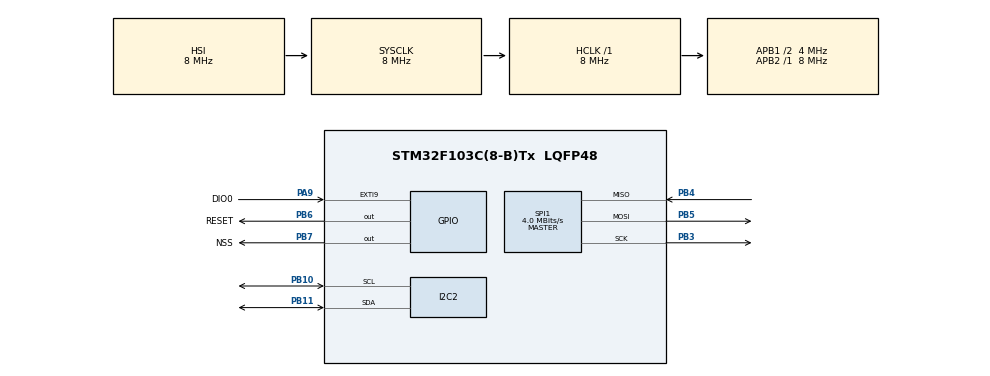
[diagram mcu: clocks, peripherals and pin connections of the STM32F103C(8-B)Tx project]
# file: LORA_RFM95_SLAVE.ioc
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Mcu.Family=STM32F1
Mcu.Name=STM32F103C(8-B)Tx
Mcu.Package=LQFP48
NVIC.PriorityGroup=NVIC_PRIORITYGROUP_4
NVIC.SPI1_IRQn=true\:0\:0\:false\:false\:true\:true\:true\:true
PA13.Mode=Serial_Wire
PA13.Signal=SYS_JTMS-SWDIO
PA14.Mode=Serial_Wire
PA14.Signal=SYS_JTCK-SWCLK
PA9.GPIO_Label=DIO0
PA9.GPIO_ModeDefaultEXTI=GPIO_MODE_IT_RISING
PA9.Signal=GPXTI9
PB10.Mode=I2C
PB10.Signal=I2C2_SCL
PB11.Mode=I2C
PB11.Signal=I2C2_SDA
PB3.Mode=Full_Duplex_Master
PB3.Signal=SPI1_SCK
PB4.Mode=Full_Duplex_Master
PB4.Signal=SPI1_MISO
PB5.Mode=Full_Duplex_Master
PB5.Signal=SPI1_MOSI
PB6.GPIO_Label=RESET
PB6.PinState=GPIO_PIN_SET
PB6.Signal=GPIO_Output
PB7.GPIO_Label=NSS
PB7.PinState=GPIO_PIN_SET
PB7.Signal=GPIO_Output
ProjectManager.HeapSize=0x200
ProjectManager.StackSize=0x400
ProjectManager.TargetToolchain=STM32CubeIDE
RCC.AHBFreq_Value=8000000
RCC.APB1CLKDivider=RCC_HCLK_DIV2
RCC.APB1Freq_Value=4000000
RCC.APB1TimFreq_Value=8000000
RCC.APB2Freq_Value=8000000
RCC.APB2TimFreq_Value=8000000
RCC.HCLKFreq_Value=8000000
RCC.PLLMUL=RCC_PLL_MUL9
RCC.SYSCLKFreq_VALUE=8000000
RCC.USBFreq_Value=36000000
SPI1.CalculateBaudRate=4.0 MBits/s
SPI1.Direction=SPI_DIRECTION_2LINES
SPI1.Mode=SPI_MODE_MASTER
SPI1.VirtualType=VM_MASTER
board=custom

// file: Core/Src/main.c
/* USER CODE BEGIN Header */
/**
  ******************************************************************************
  * @file           : main.c
  * @brief          : Main program body
  ******************************************************************************
  * @attention
  *
  * Copyright (c) 2024 STMicroelectronics.
  * All rights reserved.
  *
  * This software is licensed under terms that can be found in the LICENSE file
  * in the root directory of this software component.
  * If no LICENSE file comes with this software, it is provided AS-IS.
  *
  ******************************************************************************
  */
/* USER CODE END Header */
#include "main.h"
#include "string.h"
#include <stdio.h>
#include "LoRa.h"
#include <stdlib.h>
#include "../../ECUAL/I2C_LCD/I2C_LCD.h"

I2C_HandleTypeDef hi2c2;

SPI_HandleTypeDef hspi1;

void SystemClock_Config(void);
static void MX_GPIO_Init(void);
static void MX_SPI1_Init(void);
static void MX_I2C2_Init(void);
/* USER CODE BEGIN PFP */
#define BufferSize 2

uint8_t MyI2C_LCD;
uint8_t gps_buffer[BufferSize];
uint8_t packetSize;
LoRa myLoRa;
uint16_t LoRa_status;

char gps_store_1[15];
char gps_store_2[15];
/* USER CODE END PFP */

void HAL_SPI_RxCpltCallback(SPI_HandleTypeDef *hspi){
	if(hspi->Instance == SPI1){
		HAL_SPI_Receive_IT(&hspi1, gps_buffer, BufferSize);
	}
}

int main(void)
{

  /* MCU Configuration--------------------------------------------------------*/

  /* Reset of all peripherals, Initializes the Flash interface and the Systick. */
  HAL_Init();

  /* Configure the system clock */
  SystemClock_Config();

  /* Initialize all configured peripherals */
  MX_GPIO_Init();
  MX_SPI1_Init();
  MX_I2C2_Init();
  /* USER CODE BEGIN 2 */

   I2C_LCD_Init(MyI2C_LCD);
   I2C_LCD_SetCursor(MyI2C_LCD, 0, 0);
   I2C_LCD_WriteString(MyI2C_LCD, "LoRa Tracking");
   I2C_LCD_SetCursor(MyI2C_LCD, 0, 1);
   I2C_LCD_WriteString(MyI2C_LCD, "GROUP 6");
   HAL_Delay(1000);

  // set up LoRa module
   	I2C_LCD_Clear(MyI2C_LCD);
   	I2C_LCD_SetCursor(MyI2C_LCD, 0, 0);
   	I2C_LCD_WriteString(MyI2C_LCD, "Configure LoRa");
   	myLoRa = newLoRa();

   	myLoRa.hSPIx                 = &hspi1;
   	myLoRa.CS_port               = NSS_GPIO_Port;
   	myLoRa.CS_pin                = NSS_Pin;
   	myLoRa.reset_port            = RESET_GPIO_Port;
   	myLoRa.reset_pin             = RESET_Pin;
   	myLoRa.DIO0_port			 = DIO0_GPIO_Port;
   	myLoRa.DIO0_pin				 = DIO0_Pin;

   	LoRa_status = LoRa_init(&myLoRa);
  	LoRa_startReceiving(&myLoRa);
   	I2C_LCD_SetCursor(MyI2C_LCD, 0, 1);
   	I2C_LCD_WriteString(MyI2C_LCD, "Done configure");
   	HAL_Delay(1000);
  /* USER CODE END 2 */

  /* Infinite loop */
  while (1)
  {
	  HAL_Delay(2000);
	  packetSize = LoRa_receive(&myLoRa, gps_buffer, BufferSize);
	  if (packetSize > 0) {
		  sprintf(gps_store_1,"Lat: %f", (double) gps_buffer[0]);
		  sprintf(gps_store_2,"Lon: %f", (double) gps_buffer[1]);
		  I2C_LCD_Clear(MyI2C_LCD);
		  I2C_LCD_SetCursor(MyI2C_LCD, 0, 0);
		  I2C_LCD_WriteString(MyI2C_LCD, "Receive Success!");
		  HAL_Delay(2000);
		  I2C_LCD_Clear(MyI2C_LCD);
		  I2C_LCD_SetCursor(MyI2C_LCD, 0, 0);
		  I2C_LCD_WriteString(MyI2C_LCD, gps_store_1);
		  I2C_LCD_SetCursor(MyI2C_LCD, 0, 1);
		  I2C_LCD_WriteString(MyI2C_LCD, gps_store_2);
		  HAL_Delay(5000);
	  }else{
		  I2C_LCD_Clear(MyI2C_LCD);
		  I2C_LCD_SetCursor(MyI2C_LCD, 0, 0);
		  I2C_LCD_WriteString(MyI2C_LCD, "Error Receive!");
		  I2C_LCD_SetCursor(MyI2C_LCD, 0, 1);
		  I2C_LCD_WriteString(MyI2C_LCD, "Restart Now...");
		  HAL_Delay(2000);
	  }
	  I2C_LCD_Clear(MyI2C_LCD);
  }
}

void SystemClock_Config(void)
{
  RCC_OscInitTypeDef RCC_OscInitStruct = {0};
  RCC_ClkInitTypeDef RCC_ClkInitStruct = {0};

  /** Initializes the RCC Oscillators according to the specified parameters
  * in the RCC_OscInitTypeDef structure.
  */
  RCC_OscInitStruct.OscillatorType = RCC_OSCILLATORTYPE_HSI;
  RCC_OscInitStruct.HSIState = RCC_HSI_ON;
  RCC_OscInitStruct.HSICalibrationValue = RCC_HSICALIBRATION_DEFAULT;
  RCC_OscInitStruct.PLL.PLLState = RCC_PLL_NONE;
  if (HAL_RCC_OscConfig(&RCC_OscInitStruct) != HAL_OK)
  {
    Error_Handler();
  }

  /** Initializes the CPU, AHB and APB buses clocks
  */
  RCC_ClkInitStruct.ClockType = RCC_CLOCKTYPE_HCLK|RCC_CLOCKTYPE_SYSCLK
                              |RCC_CLOCKTYPE_PCLK1|RCC_CLOCKTYPE_PCLK2;
  RCC_ClkInitStruct.SYSCLKSource = RCC_SYSCLKSOURCE_HSI;
  RCC_ClkInitStruct.AHBCLKDivider = RCC_SYSCLK_DIV1;
  RCC_ClkInitStruct.APB1CLKDivider = RCC_HCLK_DIV2;
  RCC_ClkInitStruct.APB2CLKDivider = RCC_HCLK_DIV1;

  if (HAL_RCC_ClockConfig(&RCC_ClkInitStruct, FLASH_LATENCY_0) != HAL_OK)
  {
    Error_Handler();
  }
}

static void MX_I2C2_Init(void)
{

  hi2c2.Instance = I2C2;
  hi2c2.Init.ClockSpeed = 100000;
  hi2c2.Init.DutyCycle = I2C_DUTYCYCLE_2;
  hi2c2.Init.OwnAddress1 = 0;
  hi2c2.Init.AddressingMode = I2C_ADDRESSINGMODE_7BIT;
  hi2c2.Init.DualAddressMode = I2C_DUALADDRESS_DISABLE;
  hi2c2.Init.OwnAddress2 = 0;
  hi2c2.Init.GeneralCallMode = I2C_GENERALCALL_DISABLE;
  hi2c2.Init.NoStretchMode = I2C_NOSTRETCH_DISABLE;
  if (HAL_I2C_Init(&hi2c2) != HAL_OK)
  {
    Error_Handler();
  }

}

static void MX_SPI1_Init(void)
{

  /* SPI1 parameter configuration*/
  hspi1.Instance = SPI1;
  hspi1.Init.Mode = SPI_MODE_MASTER;
  hspi1.Init.Direction = SPI_DIRECTION_2LINES;
  hspi1.Init.DataSize = SPI_DATASIZE_8BIT;
  hspi1.Init.CLKPolarity = SPI_POLARITY_LOW;
  hspi1.Init.CLKPhase = SPI_PHASE_1EDGE;
  hspi1.Init.NSS = SPI_NSS_SOFT;
  hspi1.Init.BaudRatePrescaler = SPI_BAUDRATEPRESCALER_2;
  hspi1.Init.FirstBit = SPI_FIRSTBIT_MSB;
  hspi1.Init.TIMode = SPI_TIMODE_DISABLE;
  hspi1.Init.CRCCalculation = SPI_CRCCALCULATION_DISABLE;
  hspi1.Init.CRCPolynomial = 10;
  if (HAL_SPI_Init(&hspi1) != HAL_OK)
  {
    Error_Handler();
  }

}

static void MX_GPIO_Init(void)
{
  GPIO_InitTypeDef GPIO_InitStruct = {0};

  /* GPIO Ports Clock Enable */
  __HAL_RCC_GPIOB_CLK_ENABLE();
  __HAL_RCC_GPIOA_CLK_ENABLE();

  /*Configure GPIO pin Output Level */
  HAL_GPIO_WritePin(GPIOB, RESET_Pin|NSS_Pin, GPIO_PIN_SET);

  /*Configure GPIO pin : DIO0_Pin */
  GPIO_InitStruct.Pin = DIO0_Pin;
  GPIO_InitStruct.Mode = GPIO_MODE_IT_RISING;
  GPIO_InitStruct.Pull = GPIO_NOPULL;
  HAL_GPIO_Init(DIO0_GPIO_Port, &GPIO_InitStruct);

  /*Configure GPIO pins : RESET_Pin NSS_Pin */
  GPIO_InitStruct.Pin = RESET_Pin|NSS_Pin;
  GPIO_InitStruct.Mode = GPIO_MODE_OUTPUT_PP;
  GPIO_InitStruct.Pull = GPIO_NOPULL;
  GPIO_InitStruct.Speed = GPIO_SPEED_FREQ_LOW;
  HAL_GPIO_Init(GPIOB, &GPIO_InitStruct);

}

void Error_Handler(void)
{
  __disable_irq();
  while (1)
  {
  }
}
